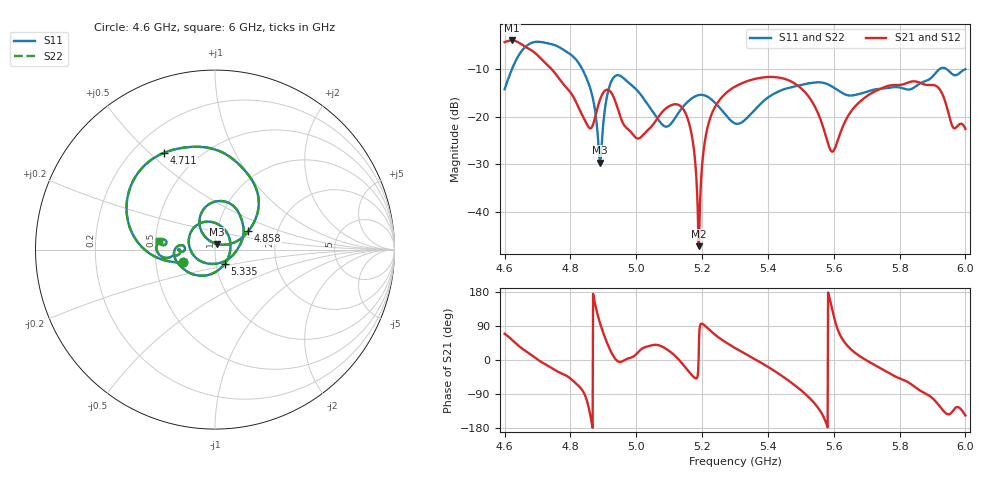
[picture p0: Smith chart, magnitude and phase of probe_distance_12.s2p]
! TOUCHSTONE file generated by CST MICROWAVE STUDIO
! Date and time: Sat Nov 30 13:10:59 2024
! Project name: test_tuning.cst
! Parameters = {airCoaxOuterDiameter=3; chamferAngle=45; chamferWidth=24; connectorLength=10; drillingHoleDiameter=4.1; feedLength=60; flareDiameter=130; flareLength=70; gratingDistance=0; gratingGap=1.90274; outletLength=30; polarizerLength=134; probe1Diameter=1.3; probe1Distance=13.5; probe1Length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
! Header version: 2024
! Port assignment regex: !\s*Touchstone port\s*([0-9]+)\s*=\s*(CST MWS port|CST DES external port|CST DES block port)\s*(.+)\s* \(\"(.*)\"\)(\s*mode\s*([0-9]+))?.*
! Touchstone port assignment:
! Touchstone port 1 = CST MWS port 1 ("Input1")
! Touchstone port 2 = CST MWS port 2 ("Input2")
# GHz S MA R 50
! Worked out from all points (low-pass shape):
!   1001 points, 4.6 GHz to 6 GHz, reference 50 ohm
!   highest |S21| = -3.97 dB at 4.622 GHz (marker M1); lowest = -47.2 dB at 5.189 GHz (marker M2)
!   |S21| within 3 dB of the highest: start of sweep to 4.699 GHz
!   lowest |S11| = -29.6 dB at 4.89 GHz (marker M3), VSWR 1.07, Z = 51 + j3.19 ohm
!   |S11| at or under -10 dB: start of sweep to 4.622399 GHz; 4.836 GHz to 5.921 GHz (1.085 GHz wide, 20.2 % of centre); 5.943 GHz to end of sweep
!   |S22| runs from -29.6 to -4.2 dB; largest |S21 - S12| = 2e-06
!   S11 on the Smith chart (normalised r, x): 4.6 GHz: 0.69, -0.10; 4.711 GHz: 0.32, +0.55; 4.858 GHz: 1.42, +0.30; 5.335 GHz: 1.10, -0.17; 6 GHz: 0.52, +0.05
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4.6  0.1946 -158.5  0.6084 69.2  0.6084 69.2  0.1946 -158.5
4.6224  0.3162 -171.1  0.6329 53.3  0.6329 53.3  0.3162 -171.1
4.7106  0.6097 117.9  0.4074 -4.8  0.4074 -4.8  0.6097 117.9
4.8338  0.3264 42.6  0.1075 -77.0  0.1075 -77.0  0.3264 42.6
4.8576  0.2118 28.8  0.07617 -133.8  0.07617 -133.8  0.2118 28.8
4.8898  0.03304 71.0  0.1509 97.7  0.1509 97.7  0.03304 71.0
4.9136  0.1801 118.8  0.1921 40.3  0.1921 40.3  0.1801 118.8
4.9388  0.2712 85.9  0.1374 0.6  0.1374 0.6  0.2712 85.9
5.0032  0.1885 32.1  0.05911 18.2  0.05911 18.2  0.1885 32.1
5.0676  0.09264 -33.5  0.09981 39.1  0.09981 39.1  0.09264 -33.5
5.1502  0.1369 -179.2  0.1079 -20.5  0.1079 -20.5  0.1369 -179.2
5.1726  0.159 155.6  0.05268 -43.4  0.05268 -43.4  0.159 155.6
5.1894  0.1689 137.1  0.004371 2.1  0.004371 2.1  0.1689 137.1
5.223  0.157 99.2  0.09293 79.0  0.09293 79.0  0.157 99.2
5.3  0.08517 -1.0  0.2072 31.7  0.2072 31.7  0.08517 -1.0
5.335  0.09593 -54.9  0.2352 14.6  0.2352 14.6  0.09593 -54.9
5.5338  0.2269 -166.5  0.1447 -106.8  0.1447 -106.8  0.2269 -166.5
5.5968  0.2059 174.2  0.04312 128.1  0.04312 128.1  0.2059 174.2
5.6626  0.1687 -179.5  0.1258 20.5  0.1258 20.5  0.1687 -179.5
5.7676  0.2011 -178.4  0.2121 -34.1  0.2121 -34.1  0.2011 -178.4
5.9104  0.2903 -171.4  0.2113 -110.0  0.2113 -110.0  0.2903 -171.4
6  0.3159 171.8  0.07451 -146.4  0.07451 -146.4  0.3159 171.8
